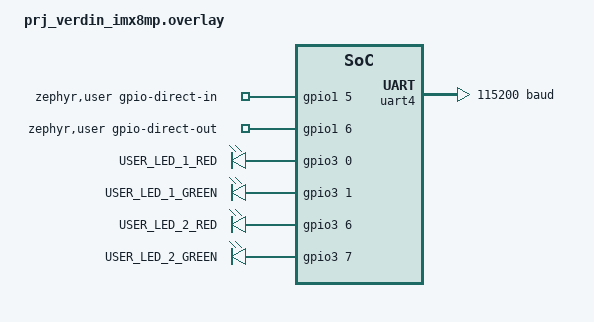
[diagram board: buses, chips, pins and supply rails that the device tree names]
#include <zephyr/dt-bindings/gpio/gpio.h>

&gpio1 {
	status = "okay";
};

/ {
	zephyr,user {
		gpio-direct-in-gpios = <&gpio1 5 GPIO_ACTIVE_HIGH>;
		gpio-direct-out-gpios = <&gpio1 6 GPIO_ACTIVE_HIGH>;
	};
};

/ {
	leds {
		compatible = "gpio-leds";

		/* SODIMM 52 - USER_LED_1_RED */
		led1red: led1red {
			label = "USER_LED_1_RED";
			gpios = <&gpio3 0 GPIO_ACTIVE_HIGH>;
		};

		/* SODIMM 54 - USER_LED_1_GREEN */
		led1green: led1green {
			label = "USER_LED_1_GREEN";
			gpios = <&gpio3 1 GPIO_ACTIVE_HIGH>;
		};

		/* SODIMM 56 - USER_LED_2_RED */
		led2red: led2red {
			label = "USER_LED_2_RED";
			gpios = <&gpio3 6 GPIO_ACTIVE_HIGH>;
		};

		/* SODIMM 58 - USER_LED_2_GREEN */
		led2green: led2green {
			label = "USER_LED_2_GREEN";
			gpios = <&gpio3 7 GPIO_ACTIVE_HIGH>;
		};
	};

	aliases {
		led0 = &led1green;
	};
};

&uart4 {
	status = "okay";
	current-speed = <115200>;
};
